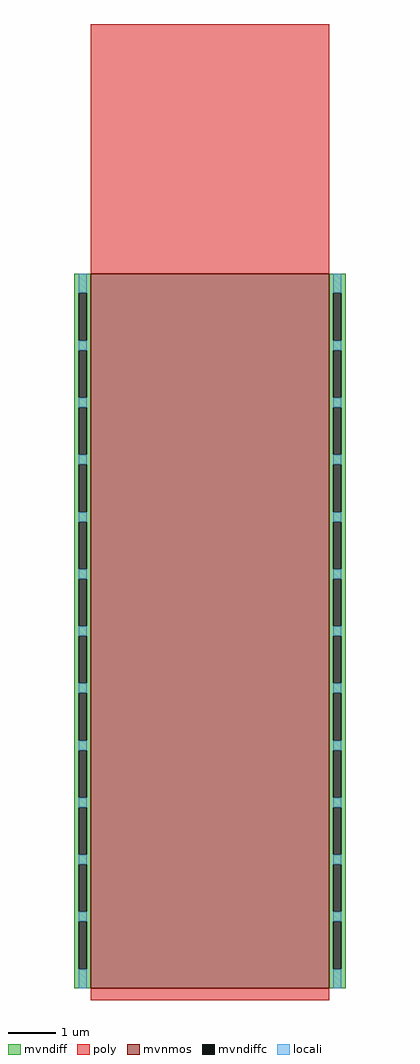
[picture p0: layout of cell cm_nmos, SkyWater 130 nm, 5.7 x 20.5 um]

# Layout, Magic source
magic
tech sky130A
<< mvnmos >>
rect 0 25 500 1525
<< mvndiff >>
rect -35 1485 0 1525
rect -35 1385 -26 1485
rect -9 1385 0 1485
rect -35 1365 0 1385
rect -35 1265 -26 1365
rect -9 1265 0 1365
rect -35 1245 0 1265
rect -35 1145 -26 1245
rect -9 1145 0 1245
rect -35 1125 0 1145
rect -35 1025 -26 1125
rect -9 1025 0 1125
rect -35 1005 0 1025
rect -35 905 -26 1005
rect -9 905 0 1005
rect -35 885 0 905
rect -35 785 -26 885
rect -9 785 0 885
rect -35 765 0 785
rect -35 665 -26 765
rect -9 665 0 765
rect -35 645 0 665
rect -35 545 -26 645
rect -9 545 0 645
rect -35 525 0 545
rect -35 425 -26 525
rect -9 425 0 525
rect -35 405 0 425
rect -35 305 -26 405
rect -9 305 0 405
rect -35 285 0 305
rect -35 185 -26 285
rect -9 185 0 285
rect -35 165 0 185
rect -35 65 -26 165
rect -9 65 0 165
rect -35 25 0 65
rect 500 1485 535 1525
rect 500 1385 509 1485
rect 526 1385 535 1485
rect 500 1365 535 1385
rect 500 1265 509 1365
rect 526 1265 535 1365
rect 500 1245 535 1265
rect 500 1145 509 1245
rect 526 1145 535 1245
rect 500 1125 535 1145
rect 500 1025 509 1125
rect 526 1025 535 1125
rect 500 1005 535 1025
rect 500 905 509 1005
rect 526 905 535 1005
rect 500 885 535 905
rect 500 785 509 885
rect 526 785 535 885
rect 500 765 535 785
rect 500 665 509 765
rect 526 665 535 765
rect 500 645 535 665
rect 500 545 509 645
rect 526 545 535 645
rect 500 525 535 545
rect 500 425 509 525
rect 526 425 535 525
rect 500 405 535 425
rect 500 305 509 405
rect 526 305 535 405
rect 500 285 535 305
rect 500 185 509 285
rect 526 185 535 285
rect 500 165 535 185
rect 500 65 509 165
rect 526 65 535 165
rect 500 25 535 65
<< mvndiffc >>
rect -26 1385 -9 1485
rect -26 1265 -9 1365
rect -26 1145 -9 1245
rect -26 1025 -9 1125
rect -26 905 -9 1005
rect -26 785 -9 885
rect -26 665 -9 765
rect -26 545 -9 645
rect -26 425 -9 525
rect -26 305 -9 405
rect -26 185 -9 285
rect -26 65 -9 165
rect 509 1385 526 1485
rect 509 1265 526 1365
rect 509 1145 526 1245
rect 509 1025 526 1125
rect 509 905 526 1005
rect 509 785 526 885
rect 509 665 526 765
rect 509 545 526 645
rect 509 425 526 525
rect 509 305 526 405
rect 509 185 526 285
rect 509 65 526 165
<< poly >>
rect 0 1525 500 2050
rect 0 0 500 25
<< locali >>
rect -26 1485 -9 1525
rect -26 1365 -9 1385
rect -26 1245 -9 1265
rect -26 1125 -9 1145
rect -26 1005 -9 1025
rect -26 885 -9 905
rect -26 765 -9 785
rect -26 645 -9 665
rect -26 525 -9 545
rect -26 405 -9 425
rect -26 285 -9 305
rect -26 165 -9 185
rect -26 25 -9 65
rect 509 1485 526 1525
rect 509 1365 526 1385
rect 509 1245 526 1265
rect 509 1125 526 1145
rect 509 1005 526 1025
rect 509 885 526 905
rect 509 765 526 785
rect 509 645 526 665
rect 509 525 526 545
rect 509 405 526 425
rect 509 285 526 305
rect 509 165 526 185
rect 509 25 526 65
<< end >>
